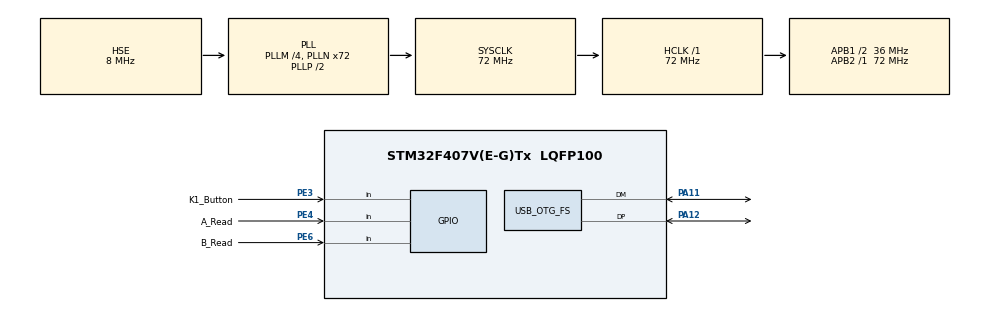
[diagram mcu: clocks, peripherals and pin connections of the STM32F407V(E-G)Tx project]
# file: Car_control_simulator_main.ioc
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Mcu.Family=STM32F4
Mcu.Name=STM32F407V(E-G)Tx
Mcu.Package=LQFP100
NVIC.OTG_FS_IRQn=true\:0\:0\:false\:false\:true\:true\:true\:true
NVIC.PriorityGroup=NVIC_PRIORITYGROUP_4
NVIC.RCC_IRQn=true\:0\:0\:false\:false\:true\:true\:false\:true
PA11.GPIO_PuPd=GPIO_PULLUP
PA11.Mode=Device_Only
PA11.Signal=USB_OTG_FS_DM
PA12.GPIO_PuPd=GPIO_PULLUP
PA12.Mode=Device_Only
PA12.Signal=USB_OTG_FS_DP
PA13.Mode=Serial_Wire
PA13.Signal=SYS_JTMS-SWDIO
PA14.Mode=Serial_Wire
PA14.Signal=SYS_JTCK-SWCLK
PE3.GPIO_Label=K1_Button
PE3.GPIO_PuPd=GPIO_PULLUP
PE3.Signal=GPIO_Input
PE4.GPIO_Label=A_Read
PE4.GPIO_PuPd=GPIO_PULLUP
PE4.Signal=GPIO_Input
PE6.GPIO_Label=B_Read
PE6.GPIO_PuPd=GPIO_PULLUP
PE6.Signal=GPIO_Input
PH0-OSC_IN.Mode=HSE-External-Oscillator
PH0-OSC_IN.Signal=RCC_OSC_IN
PH1-OSC_OUT.Mode=HSE-External-Oscillator
PH1-OSC_OUT.Signal=RCC_OSC_OUT
ProjectManager.HeapSize=0x200
ProjectManager.StackSize=0x400
ProjectManager.TargetToolchain=STM32CubeIDE
RCC.48MHZClocksFreq_Value=48000000
RCC.AHBFreq_Value=72000000
RCC.APB1CLKDivider=RCC_HCLK_DIV2
RCC.APB1Freq_Value=36000000
RCC.APB1TimFreq_Value=72000000
RCC.APB2Freq_Value=72000000
RCC.APB2TimFreq_Value=72000000
RCC.CortexFreq_Value=72000000
RCC.HCLKFreq_Value=72000000
RCC.HSE_VALUE=8000000
RCC.HSI_VALUE=16000000
RCC.LSE_VALUE=32768
RCC.PLLM=4
RCC.PLLN=72
RCC.PLLQ=3
RCC.SYSCLKFreq_VALUE=72000000
RCC.SYSCLKSource=RCC_SYSCLKSOURCE_PLLCLK
RCC.VCOOutputFreq_Value=144000000
USB_DEVICE.CLASS_NAME_FS=HID
USB_DEVICE.VirtualMode-HID_FS=Hid
USB_DEVICE.VirtualModeFS=Hid_FS
USB_OTG_FS.VirtualMode=Device_Only
VP_USB_DEVICE_VS_USB_DEVICE_HID_FS.Mode=HID_FS
board=custom

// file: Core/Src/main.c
/* USER CODE BEGIN Header */
/**
  ******************************************************************************
  * @file           : main.c
  * @brief          : Main program body
  ******************************************************************************
  * @attention
  *
  * Copyright (c) 2025 STMicroelectronics.
  * All rights reserved.
  *
  * This software is licensed under terms that can be found in the LICENSE file
  * in the root directory of this software component.
  * If no LICENSE file comes with this software, it is provided AS-IS.
  *
  ******************************************************************************
  */
/* USER CODE END Header */
#include "main.h"
#include "usb_device.h"

void SystemClock_Config(void);
static void MX_GPIO_Init(void);
int read_encoder (uint8_t  ,uint8_t);
float get_grados(uint16_t);
//void send_grados_to_host(void);

/* USER CODE BEGIN 0 */
#define max_grados 2400
#define min_grados -2400
#define initial_grados  400.0
#define initial_value  0U

int a = 0;
int b = 0;
int c = 0;
int suma = initial_value;
int last_c = 0;
int16_t xd = initial_value;
float xd_grados = 0.0f;
float grados_wheel = 0.0f;
int16_t last_xd = initial_value;
uint16_t xd_grados_decimal = 0;
extern USBD_HandleTypeDef hUsbDeviceFS;

typedef struct {
   uint8_t buttons;
   int8_t HID_Report[2];
   //uint16_t HID_Report;
   //uint8_t HID_Report[4];
}joystickReport ;

joystickReport joystickReportCONtainer;
/* USER CODE END 0 */

int main(void)
{
	uint8_t K1 = 0;
	//uint8_t K0 = 0;

  /* MCU Configuration--------------------------------------------------------*/

  /* Reset of all peripherals, Initializes the Flash interface and the Systick. */
  HAL_Init();

  /* Configure the system clock */
  SystemClock_Config();

  /* Initialize all configured peripherals */
  MX_GPIO_Init();
  MX_USB_DEVICE_Init();

  /* Infinite loop */
  while (1)
  {
       a = HAL_GPIO_ReadPin(GPIOE, A_Read_Pin);
       b = HAL_GPIO_ReadPin(GPIOE, B_Read_Pin);

       //K0 = !HAL_GPIO_ReadPin(GPIOE, K0_Button_Pin);
       K1 = !HAL_GPIO_ReadPin(GPIOE, K1_Button_Pin);
       joystickReportCONtainer.buttons =  K1;

       xd = read_encoder(a,b);
       xd_grados_decimal = (int16_t)get_grados(xd);
       int8_t MSB = (int8_t)((xd_grados_decimal >> 8) & 0xFF);
       int8_t LSB = (int8_t)(xd_grados_decimal & 0xFF);

       // Descomponer xd_grados_decimal en dos bytes (uint8_t)
       joystickReportCONtainer.HID_Report[0] = LSB;	//LSB
       joystickReportCONtainer.HID_Report[1] = MSB;	//MSB

       // Enviar el reporte HID al host
       USBD_HID_SendReport(&hUsbDeviceFS,(int8_t*)& joystickReportCONtainer, sizeof( joystickReport ));
  }
}

//void send_grados_to_host(void ) {
//    // Empaquetar el valor de grados como float
//      // 4 bytes para el valor flotante
//
//    // Convertir el valor de grados (float) en su representación de 4 bytes (float -> uint8_t[])
//    union {
//        float grados;
//        uint8_t bytes[4];
//    } float_to_bytes;
//
//    float_to_bytes.grados = xd_grados;
//
//    // Copiar los 4 bytes en el reporte HID
//    for (int i = 0; i < 4; i++) {
//    	joystickReportCONtainer.HID_Report[i] = float_to_bytes.bytes[i];
//    }
//
//
//}

float get_grados(uint16_t encoder_inc)
{
	float gain_grado = 0.0f;
	int8_t coe = 0;
	coe = encoder_inc - last_xd;
	if(coe != 0)
	{
		if(coe>1)
		{

		}
		gain_grado =  (360.0f/2400.0f);

	}
	else
	{
		/*nothing*/
		gain_grado = 0;
	}

	grados_wheel = grados_wheel + (gain_grado*coe);

	grados_wheel = (grados_wheel <= min_grados) ? min_grados : grados_wheel;
	grados_wheel = (grados_wheel >= max_grados) ? max_grados : grados_wheel;

	last_xd = encoder_inc;
	return grados_wheel;
}

int read_encoder (uint8_t a_val , uint8_t b_val)
{
	int increment_ret_val = 0;
	uint8_t c = (a_val << 1) | b_val;

    if((last_c == 0 && c == 1)||(last_c == 1 && c == 3)||(last_c == 2 && c == 0)||(last_c == 3 && c == 2))
    {
    	if(suma<15000)
    	{
    		suma++;
    	}
    }
    else if(last_c == c)
    {
    	/*do nothing*/
    }
    else
    {
    	if(suma>-15000)
    	{
    		suma--;
    	}
    }

    last_c = c;
	a = 0;
	b = 0;
	c = 0;
    increment_ret_val = suma;

	return increment_ret_val;
}
void SystemClock_Config(void)
{
  RCC_OscInitTypeDef RCC_OscInitStruct = {0};
  RCC_ClkInitTypeDef RCC_ClkInitStruct = {0};

  /** Configure the main internal regulator output voltage
  */
  __HAL_RCC_PWR_CLK_ENABLE();
  __HAL_PWR_VOLTAGESCALING_CONFIG(PWR_REGULATOR_VOLTAGE_SCALE1);

  /** Initializes the RCC Oscillators according to the specified parameters
  * in the RCC_OscInitTypeDef structure.
  */
  RCC_OscInitStruct.OscillatorType = RCC_OSCILLATORTYPE_HSE;
  RCC_OscInitStruct.HSEState = RCC_HSE_ON;
  RCC_OscInitStruct.PLL.PLLState = RCC_PLL_ON;
  RCC_OscInitStruct.PLL.PLLSource = RCC_PLLSOURCE_HSE;
  RCC_OscInitStruct.PLL.PLLM = 4;
  RCC_OscInitStruct.PLL.PLLN = 72;
  RCC_OscInitStruct.PLL.PLLP = RCC_PLLP_DIV2;
  RCC_OscInitStruct.PLL.PLLQ = 3;
  if (HAL_RCC_OscConfig(&RCC_OscInitStruct) != HAL_OK)
  {
    Error_Handler();
  }

  /** Initializes the CPU, AHB and APB buses clocks
  */
  RCC_ClkInitStruct.ClockType = RCC_CLOCKTYPE_HCLK|RCC_CLOCKTYPE_SYSCLK
                              |RCC_CLOCKTYPE_PCLK1|RCC_CLOCKTYPE_PCLK2;
  RCC_ClkInitStruct.SYSCLKSource = RCC_SYSCLKSOURCE_PLLCLK;
  RCC_ClkInitStruct.AHBCLKDivider = RCC_SYSCLK_DIV1;
  RCC_ClkInitStruct.APB1CLKDivider = RCC_HCLK_DIV2;
  RCC_ClkInitStruct.APB2CLKDivider = RCC_HCLK_DIV1;

  if (HAL_RCC_ClockConfig(&RCC_ClkInitStruct, FLASH_LATENCY_2) != HAL_OK)
  {
    Error_Handler();
  }
}

static void MX_GPIO_Init(void)
{
  GPIO_InitTypeDef GPIO_InitStruct = {0};

  /* GPIO Ports Clock Enable */
  __HAL_RCC_GPIOE_CLK_ENABLE();
  __HAL_RCC_GPIOH_CLK_ENABLE();
  __HAL_RCC_GPIOA_CLK_ENABLE();

  /*Configure GPIO pins : K1_Button_Pin A_Read_Pin B_Read_Pin */
  GPIO_InitStruct.Pin = K1_Button_Pin|A_Read_Pin|B_Read_Pin;
  GPIO_InitStruct.Mode = GPIO_MODE_INPUT;
  GPIO_InitStruct.Pull = GPIO_PULLUP;
  HAL_GPIO_Init(GPIOE, &GPIO_InitStruct);

}

void Error_Handler(void)
{
  __disable_irq();
  while (1)
  {
  }
}
